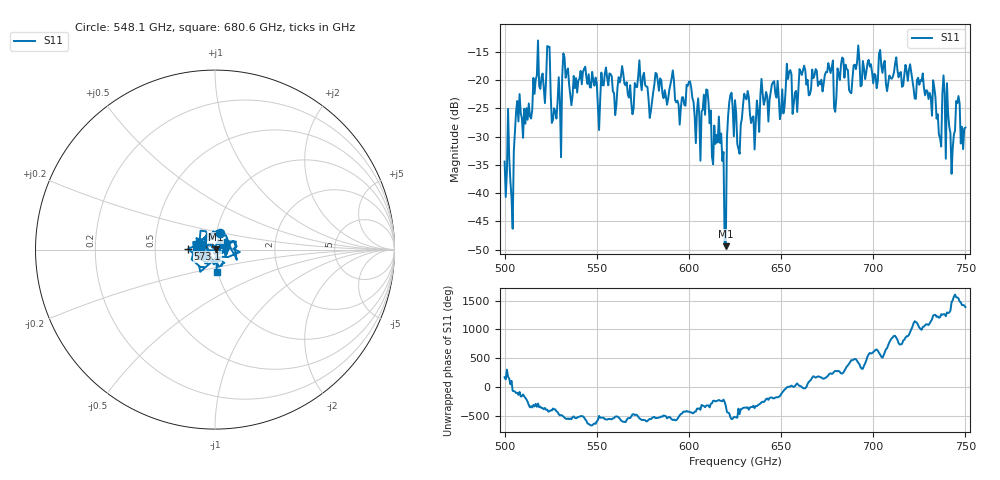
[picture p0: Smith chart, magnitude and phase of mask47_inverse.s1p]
!Created with skrf (http://scikit-rf.org).
# GHz S MA R 50.0
!freq magS11 angS11
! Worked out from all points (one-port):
!   401 points, 500 GHz to 750 GHz, reference 50 ohm
!   lowest |S11| = -49.4 dB at 620 GHz (marker M1), VSWR 1.01, Z = 50.3 + j0.195 ohm
!   |S11| at or under -10 dB: start of sweep to end of sweep
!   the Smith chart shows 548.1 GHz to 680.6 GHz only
!   S11 on the Smith chart (normalised r, x): 548.1 GHz: 1.03, +0.20; 573.1 GHz: 0.74, +0.01; 680.6 GHz: 0.99, -0.25
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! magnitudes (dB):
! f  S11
! 500 GHz  -34.4
! 503.8 GHz  -40.8
! 506.9 GHz  -23.7
! 513.8 GHz  -26.4
! 516.9 GHz  -19.9
! 523.8 GHz  -14.1
! 526.9 GHz  -25.0
! 531.2 GHz  -19.4
! 548.1 GHz  -20.1
! 562.5 GHz  -20.4
! 573.1 GHz  -16.5
! 593.8 GHz  -23.6
! 600 GHz  -20.3
! 605 GHz  -23.2
! 609.4 GHz  -21.7
! 620 GHz  -49.4
! 621.9 GHz  -23.9
! 625 GHz  -23.6
! 656.2 GHz  -26.0
! 680.6 GHz  -17.9
! 687.5 GHz  -22.2
! 718.8 GHz  -20.2
! 733.8 GHz  -23.0
! 735.6 GHz  -29.6
! 738.8 GHz  -22.5
! 742.5 GHz  -36.6
! 745.6 GHz  -24.1
! 750 GHz  -28.4
